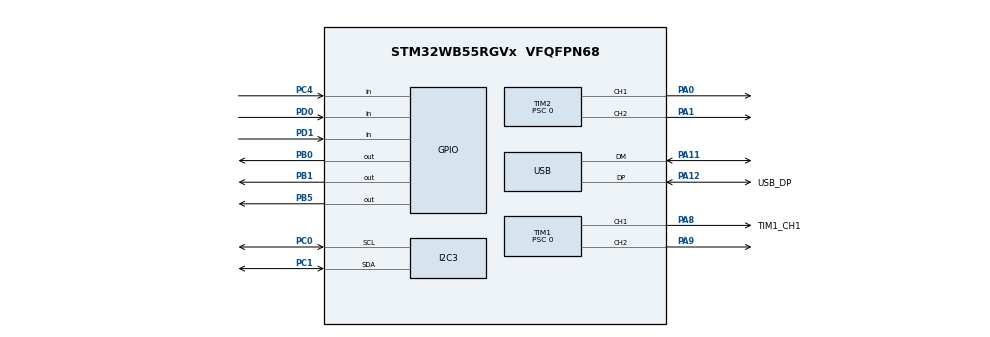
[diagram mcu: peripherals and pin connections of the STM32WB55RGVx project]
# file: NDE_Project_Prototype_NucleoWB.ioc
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I2C3.Timing=0x00B07CB4
Mcu.Family=STM32WB
Mcu.Name=STM32WB55RGVx
Mcu.Package=VFQFPN68
NUCLEO-WB55RG.BUTTON=1
NUCLEO-WB55RG.BUTTON2=1
NUCLEO-WB55RG.BUTTON3=1
NUCLEO-WB55RG.LD1=true
NUCLEO-WB55RG.LD2=true
NUCLEO-WB55RG.LD3=true
NUCLEO-WB55RG.VCP=true
NVIC.PriorityGroup=NVIC_PRIORITYGROUP_4
NVIC.TIM1_UP_TIM16_IRQn=true\:0\:0\:false\:false\:true\:true\:true\:true
OSC_IN.GPIO_Label=RCC_OSC_IN
OSC_IN.Signal=RCC_OSC_IN
OSC_OUT.GPIO_Label=RCC_OSC_OUT
OSC_OUT.Signal=RCC_OSC_OUT
PA0.Signal=S_TIM2_CH1
PA1.Signal=S_TIM2_CH2
PA11.Mode=Device
PA11.Signal=USB_DM
PA12.GPIO_Label=USB_DP
PA12.Mode=Device
PA12.Signal=USB_DP
PA13.GPIO_Label=JTMS
PA13.Mode=Trace_Asynchronous_SW
PA13.Signal=SYS_JTMS-SWDIO
PA14.GPIO_Label=JTCK
PA14.Mode=Trace_Asynchronous_SW
PA14.Signal=SYS_JTCK-SWCLK
PA8.GPIO_Label=TIM1_CH1
PA8.Signal=S_TIM1_CH1
PA9.Signal=S_TIM1_CH2
PB0.Signal=GPIO_Output
PB1.Signal=GPIO_Output
PB3.GPIO_Label=JTDO
PB3.Mode=Trace_Asynchronous_SW
PB3.Signal=SYS_JTDO-SWO
PB5.Signal=GPIO_Output
PB6.Signal=USART1_TX
PB7.Signal=USART1_RX
PC0.Mode=I2C
PC0.Signal=I2C3_SCL
PC1.Mode=I2C
PC1.Signal=I2C3_SDA
PC13.GPIO_Label=SYS_WKUP2
PC13.Signal=SYS_WKUP2
PC14-OSC32_IN.GPIO_Label=RCC_OSC32_IN
PC14-OSC32_IN.Signal=RCC_OSC32_IN
PC15-OSC32_OUT.GPIO_Label=RCC_OSC32_OUT
PC15-OSC32_OUT.Signal=RCC_OSC32_OUT
PC4.Signal=GPIO_Input
PD0.Signal=GPIO_Input
PD1.Signal=GPIO_Input
ProjectManager.HeapSize=0x200
ProjectManager.StackSize=0x400
ProjectManager.TargetToolchain=STM32CubeIDE
RCC.ADCFreq_Value=128000000
RCC.AHBFreq_Value=32000000
RCC.APB1Freq_Value=32000000
RCC.APB1TimFreq_Value=32000000
RCC.APB2Freq_Value=32000000
RCC.APB2TimFreq_Value=32000000
RCC.APB3Freq_Value=16000000
RCC.CK48CLockSelection=RCC_USBCLKSOURCE_HSI48
RCC.CortexFreq_Value=32000000
RCC.HCLKFreq_Value=32000000
RCC.HSE_VALUE=32000000
RCC.HSI48_VALUE=48000000
RCC.HSI_VALUE=16000000
RCC.LSE_VALUE=32768
RCC.MSIClockRange=RCC_MSIRANGE_10
RCC.SMPSCLockSelection=RCC_SMPSCLKSOURCE_HSI
RCC.SMPSCLockSelectionVirtual=RCC_SMPSCLKSOURCE_HSI
RCC.SMPSCLockSelectionVirtualVirtual=RCC_SMPSCLKSOURCE_HSI
RCC.SMPSDivider=1
RCC.SYSCLKFreq_VALUE=32000000
RCC.USBFreq_Value=48000000
RCC.VCOOutputFreq_Value=256000000
SH.S_TIM1_CH1.0=TIM1_CH1,PWM Generation1 CH1
SH.S_TIM1_CH2.0=TIM1_CH2,PWM Generation2 CH2
SH.S_TIM2_CH1.0=TIM2_CH1,PWM Generation1 CH1
SH.S_TIM2_CH2.0=TIM2_CH2,PWM Generation2 CH2
TIM1.AutoReloadPreload=TIM_AUTORELOAD_PRELOAD_ENABLE
TIM1.Channel-PWM\ Generation1\ CH1=TIM_CHANNEL_1
TIM1.Channel-PWM\ Generation2\ CH2=TIM_CHANNEL_2
TIM1.Channel-PWM\ Generation3\ No\ Output=TIM_CHANNEL_3
TIM1.Period=1000
TIM1.Prescaler=0
TIM16.Period=5000
TIM16.Prescaler=6339
TIM2.Channel-PWM\ Generation1\ CH1=TIM_CHANNEL_1
TIM2.Channel-PWM\ Generation2\ CH2=TIM_CHANNEL_2
TIM2.Period=1000
TIM2.Prescaler=0
VP_MEMORYMAP_VS_MEMORYMAP.Mode=CurAppReg
VP_NUCLEO-WB55RG_VS_BSP_COMMON.Mode=COMMON
VP_TIM16_VS_ClockSourceINT.Mode=Enable_Timer
VP_TIM1_VS_ClockSourceINT.Mode=Internal
VP_TIM1_VS_no_output3.Mode=PWM Generation3 No Output
VP_TIM2_VS_ClockSourceINT.Mode=Internal
board=NUCLEO-WB55RG

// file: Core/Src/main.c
/* USER CODE BEGIN Header */
/**
  ******************************************************************************
  * @file           : main.c
  * @brief          : Main program body
  ******************************************************************************
  * @attention
  *
  * Copyright (c) 2025 STMicroelectronics.
  * All rights reserved.
  *
  * This software is licensed under terms that can be found in the LICENSE file
  * in the root directory of this software component.
  * If no LICENSE file comes with this software, it is provided AS-IS.
  *
  ******************************************************************************
  */
/* USER CODE END Header */
#include "main.h"

/* USER CODE BEGIN Includes */
#include <stdio.h>
#include "MPU6050.h"
#include "Fan_Controller.h"
/* USER CODE END Includes */

COM_InitTypeDef BspCOMInit;
I2C_HandleTypeDef hi2c3;

TIM_HandleTypeDef htim1;
TIM_HandleTypeDef htim2;
TIM_HandleTypeDef htim16;

PCD_HandleTypeDef hpcd_USB_FS;

void SystemClock_Config(void);
void PeriphCommonClock_Config(void);
static void MX_GPIO_Init(void);
static void MX_TIM1_Init(void);
static void MX_TIM2_Init(void);
static void MX_I2C3_Init(void);
static void MX_USB_PCD_Init(void);
static void MX_TIM16_Init(void);
/* USER CODE BEGIN PFP */
float fan_speed_1, fan_speed_2 = 0;

void control_rotation(float desired_rotation, float actual_rotation) {
	// Prepracovat ako PID kontroler, ak to nebude fungovat
	if (actual_rotation-desired_rotation > 10.5) {
		fan_speed_1 = -1000;
		fan_speed_2 = -1000;
		set_fan_speed(fan_speed_1);
		set_fan_speed2(fan_speed_2);
	}else if (actual_rotation-desired_rotation < -10.5){
		fan_speed_1 = 1000;
		fan_speed_2 = 1000;
		set_fan_speed(fan_speed_1);
		set_fan_speed2(fan_speed_2);
	}else{
		fan_speed_1 = 0;
		fan_speed_2 = 0;
		set_fan_speed(fan_speed_1);
		set_fan_speed2(fan_speed_2);
	}
}

/* USER CODE END PFP */

/* USER CODE BEGIN 0 */
float GyroX, GyroY, GyroZ;
float AccelX, AccelY, AccelZ;
float GyroRoll, GyroPitch, AccelRoll, AccelPitch;
uint32_t ch1_counter_val, ch2_counter_val;
/* USER CODE END 0 */

int main(void)
{

  /* MCU Configuration--------------------------------------------------------*/

  /* Reset of all peripherals, Initializes the Flash interface and the Systick. */
  HAL_Init();

  /* Configure the system clock */
  SystemClock_Config();

  /* Configure the peripherals common clocks */
  PeriphCommonClock_Config();

  /* Initialize all configured peripherals */
  MX_GPIO_Init();
  MX_TIM1_Init();
  MX_TIM2_Init();
  MX_I2C3_Init();
  MX_USB_PCD_Init();
  MX_TIM16_Init();
  /* USER CODE BEGIN 2 */
  MPU6050_t MPU6050;

  // Initialize MPU6050 (see library sample code)
  while (MPU6050_Init(&hi2c3) == 1){
	  printf("Unable to Init MPU6050\n");
  }
  /* USER CODE END 2 */

  /* Initialize leds */
  BSP_LED_Init(LED_BLUE);
  BSP_LED_Init(LED_GREEN);
  BSP_LED_Init(LED_RED);

  /* Initialize USER push-button, will be used to trigger an interrupt each time it's pressed.*/
  BSP_PB_Init(BUTTON_SW1, BUTTON_MODE_EXTI);
  BSP_PB_Init(BUTTON_SW2, BUTTON_MODE_EXTI);
  BSP_PB_Init(BUTTON_SW3, BUTTON_MODE_EXTI);

  /* Initialize COM1 port (115200, 8 bits (7-bit data + 1 stop bit), no parity */
  BspCOMInit.BaudRate   = 115200;
  BspCOMInit.WordLength = COM_WORDLENGTH_8B;
  BspCOMInit.StopBits   = COM_STOPBITS_1;
  BspCOMInit.Parity     = COM_PARITY_NONE;
  BspCOMInit.HwFlowCtl  = COM_HWCONTROL_NONE;
  if (BSP_COM_Init(COM1, &BspCOMInit) != BSP_ERROR_NONE)
  {
    Error_Handler();
  }

  /* Infinite loop */
  /* USER CODE BEGIN WHILE */
  HAL_TIM_PWM_Start(&htim1, TIM_CHANNEL_1);
  HAL_TIM_PWM_Start(&htim1, TIM_CHANNEL_2);
  HAL_TIM_PWM_Start(&htim2, TIM_CHANNEL_1);
  HAL_TIM_PWM_Start(&htim2, TIM_CHANNEL_2);
  init_fan(&(TIM1->CCR1), &(TIM1->CCR2), &(TIM2->CCR1), &(TIM2->CCR2));
  HAL_TIM_Base_Start_IT(&htim16);

  //ch1_counter_val = 0;//(TIM1 -> ARR);
  //ch2_counter_val = 0;
  fan_speed_1 = 1;
  fan_speed_2 = 1;
  while (1)
  {

    /* USER CODE END WHILE */

    /* USER CODE BEGIN 3 */

	  // MPU6050 reading
	  MPU6050_Read_MPU(&hi2c3, &MPU6050);
	  Calculate_Accel_Values(&MPU6050);
	  Calculate_Gyro_Values(&MPU6050);
	  Get_Accel_Angles(&MPU6050);
	  Get_Gyro_Angles(&MPU6050, 0.01);
	  Comp_Filter_Results(&MPU6050);

	  // Writing results
	  GyroX = MPU6050.Gyro_X;
	  GyroY = MPU6050.Gyro_Y;
	  GyroZ = MPU6050.Gyro_Z;

	  AccelX = MPU6050.Accel_X;
	  AccelY = MPU6050.Accel_Y;
	  AccelZ = MPU6050.Accel_Z;

	  GyroRoll = MPU6050.Gyro_Roll;
	  GyroPitch = MPU6050.Gyro_Pitch;
	  AccelRoll = MPU6050.Accel_Roll;
	  AccelPitch = MPU6050.Accel_Pitch;

	  control_rotation(0, GyroY);
	  //fan_speed_1 = (AccelZ/10.5 * 1000);
	  /*fan_speed_1 = 0;
	  fan_speed_2 = 0;
	  set_fan_speed(fan_speed_1);
	  set_fan_speed2(fan_speed_2);
	  HAL_Delay(2000);

	  fan_speed_1 = 600;
	  fan_speed_2 = 600;
	  set_fan_speed(fan_speed_1);
	  set_fan_speed2(fan_speed_2);
	  HAL_Delay(2000);

	  fan_speed_1 = 900;
	  fan_speed_2 = 900;
	  set_fan_speed(fan_speed_1);
	  set_fan_speed2(fan_speed_2);
	  HAL_Delay(2000);

	  fan_speed_1 = -900;
	  fan_speed_2 = -900;*/

	  //HAL_Delay(2000);

	  /*ch1_counter_val = (TIM1->ARR)*0.8;
	  TIM1->CCR1 = ch1_counter_val;
	  HAL_Delay(5000);
	  ch1_counter_val = 0;
	  TIM1->CCR1 = ch1_counter_val;

	  ch2_counter_val = (TIM1->ARR)*0.8;

	  TIM1->CCR2 = ch2_counter_val;
	  HAL_Delay(5000);
	  ch2_counter_val = 0;
	  TIM1->CCR2 = ch2_counter_val;*/
	  printf("GyroscopeMPU6050Test\n");
  }
  /* USER CODE END 3 */
}

void SystemClock_Config(void)
{
  RCC_OscInitTypeDef RCC_OscInitStruct = {0};
  RCC_ClkInitTypeDef RCC_ClkInitStruct = {0};

  /** Configure the main internal regulator output voltage
  */
  __HAL_PWR_VOLTAGESCALING_CONFIG(PWR_REGULATOR_VOLTAGE_SCALE1);

  /** Initializes the RCC Oscillators according to the specified parameters
  * in the RCC_OscInitTypeDef structure.
  */
  RCC_OscInitStruct.OscillatorType = RCC_OSCILLATORTYPE_HSI48|RCC_OSCILLATORTYPE_HSI
                              |RCC_OSCILLATORTYPE_MSI;
  RCC_OscInitStruct.HSIState = RCC_HSI_ON;
  RCC_OscInitStruct.MSIState = RCC_MSI_ON;
  RCC_OscInitStruct.HSI48State = RCC_HSI48_ON;
  RCC_OscInitStruct.HSICalibrationValue = RCC_HSICALIBRATION_DEFAULT;
  RCC_OscInitStruct.MSICalibrationValue = RCC_MSICALIBRATION_DEFAULT;
  RCC_OscInitStruct.MSIClockRange = RCC_MSIRANGE_10;
  RCC_OscInitStruct.PLL.PLLState = RCC_PLL_NONE;
  if (HAL_RCC_OscConfig(&RCC_OscInitStruct) != HAL_OK)
  {
    Error_Handler();
  }

  /** Configure the SYSCLKSource, HCLK, PCLK1 and PCLK2 clocks dividers
  */
  RCC_ClkInitStruct.ClockType = RCC_CLOCKTYPE_HCLK4|RCC_CLOCKTYPE_HCLK2
                              |RCC_CLOCKTYPE_HCLK|RCC_CLOCKTYPE_SYSCLK
                              |RCC_CLOCKTYPE_PCLK1|RCC_CLOCKTYPE_PCLK2;
  RCC_ClkInitStruct.SYSCLKSource = RCC_SYSCLKSOURCE_MSI;
  RCC_ClkInitStruct.AHBCLKDivider = RCC_SYSCLK_DIV1;
  RCC_ClkInitStruct.APB1CLKDivider = RCC_HCLK_DIV1;
  RCC_ClkInitStruct.APB2CLKDivider = RCC_HCLK_DIV1;
  RCC_ClkInitStruct.AHBCLK2Divider = RCC_SYSCLK_DIV1;
  RCC_ClkInitStruct.AHBCLK4Divider = RCC_SYSCLK_DIV1;

  if (HAL_RCC_ClockConfig(&RCC_ClkInitStruct, FLASH_LATENCY_1) != HAL_OK)
  {
    Error_Handler();
  }
}

void PeriphCommonClock_Config(void)
{
  RCC_PeriphCLKInitTypeDef PeriphClkInitStruct = {0};

  /** Initializes the peripherals clock
  */
  PeriphClkInitStruct.PeriphClockSelection = RCC_PERIPHCLK_SMPS;
  PeriphClkInitStruct.SmpsClockSelection = RCC_SMPSCLKSOURCE_HSI;
  PeriphClkInitStruct.SmpsDivSelection = RCC_SMPSCLKDIV_RANGE0;

  if (HAL_RCCEx_PeriphCLKConfig(&PeriphClkInitStruct) != HAL_OK)
  {
    Error_Handler();
  }
}

static void MX_I2C3_Init(void)
{

  hi2c3.Instance = I2C3;
  hi2c3.Init.Timing = 0x00B07CB4;
  hi2c3.Init.OwnAddress1 = 0;
  hi2c3.Init.AddressingMode = I2C_ADDRESSINGMODE_7BIT;
  hi2c3.Init.DualAddressMode = I2C_DUALADDRESS_DISABLE;
  hi2c3.Init.OwnAddress2 = 0;
  hi2c3.Init.OwnAddress2Masks = I2C_OA2_NOMASK;
  hi2c3.Init.GeneralCallMode = I2C_GENERALCALL_DISABLE;
  hi2c3.Init.NoStretchMode = I2C_NOSTRETCH_DISABLE;
  if (HAL_I2C_Init(&hi2c3) != HAL_OK)
  {
    Error_Handler();
  }

  /** Configure Analogue filter
  */
  if (HAL_I2CEx_ConfigAnalogFilter(&hi2c3, I2C_ANALOGFILTER_ENABLE) != HAL_OK)
  {
    Error_Handler();
  }

  /** Configure Digital filter
  */
  if (HAL_I2CEx_ConfigDigitalFilter(&hi2c3, 0) != HAL_OK)
  {
    Error_Handler();
  }

}

static void MX_TIM1_Init(void)
{

  TIM_ClockConfigTypeDef sClockSourceConfig = {0};
  TIM_MasterConfigTypeDef sMasterConfig = {0};
  TIM_OC_InitTypeDef sConfigOC = {0};
  TIM_BreakDeadTimeConfigTypeDef sBreakDeadTimeConfig = {0};

  htim1.Instance = TIM1;
  htim1.Init.Prescaler = 0;
  htim1.Init.CounterMode = TIM_COUNTERMODE_UP;
  htim1.Init.Period = 1000;
  htim1.Init.ClockDivision = TIM_CLOCKDIVISION_DIV1;
  htim1.Init.RepetitionCounter = 0;
  htim1.Init.AutoReloadPreload = TIM_AUTORELOAD_PRELOAD_ENABLE;
  if (HAL_TIM_Base_Init(&htim1) != HAL_OK)
  {
    Error_Handler();
  }
  sClockSourceConfig.ClockSource = TIM_CLOCKSOURCE_INTERNAL;
  if (HAL_TIM_ConfigClockSource(&htim1, &sClockSourceConfig) != HAL_OK)
  {
    Error_Handler();
  }
  if (HAL_TIM_PWM_Init(&htim1) != HAL_OK)
  {
    Error_Handler();
  }
  sMasterConfig.MasterOutputTrigger = TIM_TRGO_RESET;
  sMasterConfig.MasterOutputTrigger2 = TIM_TRGO2_RESET;
  sMasterConfig.MasterSlaveMode = TIM_MASTERSLAVEMODE_DISABLE;
  if (HAL_TIMEx_MasterConfigSynchronization(&htim1, &sMasterConfig) != HAL_OK)
  {
    Error_Handler();
  }
  sConfigOC.OCMode = TIM_OCMODE_PWM1;
  sConfigOC.Pulse = 0;
  sConfigOC.OCPolarity = TIM_OCPOLARITY_HIGH;
  sConfigOC.OCNPolarity = TIM_OCNPOLARITY_HIGH;
  sConfigOC.OCFastMode = TIM_OCFAST_DISABLE;
  sConfigOC.OCIdleState = TIM_OCIDLESTATE_RESET;
  sConfigOC.OCNIdleState = TIM_OCNIDLESTATE_RESET;
  if (HAL_TIM_PWM_ConfigChannel(&htim1, &sConfigOC, TIM_CHANNEL_1) != HAL_OK)
  {
    Error_Handler();
  }
  if (HAL_TIM_PWM_ConfigChannel(&htim1, &sConfigOC, TIM_CHANNEL_2) != HAL_OK)
  {
    Error_Handler();
  }
  if (HAL_TIM_PWM_ConfigChannel(&htim1, &sConfigOC, TIM_CHANNEL_3) != HAL_OK)
  {
    Error_Handler();
  }
  sBreakDeadTimeConfig.OffStateRunMode = TIM_OSSR_DISABLE;
  sBreakDeadTimeConfig.OffStateIDLEMode = TIM_OSSI_DISABLE;
  sBreakDeadTimeConfig.LockLevel = TIM_LOCKLEVEL_OFF;
  sBreakDeadTimeConfig.DeadTime = 0;
  sBreakDeadTimeConfig.BreakState = TIM_BREAK_DISABLE;
  sBreakDeadTimeConfig.BreakPolarity = TIM_BREAKPOLARITY_HIGH;
  sBreakDeadTimeConfig.BreakFilter = 0;
  sBreakDeadTimeConfig.BreakAFMode = TIM_BREAK_AFMODE_INPUT;
  sBreakDeadTimeConfig.Break2State = TIM_BREAK2_DISABLE;
  sBreakDeadTimeConfig.Break2Polarity = TIM_BREAK2POLARITY_HIGH;
  sBreakDeadTimeConfig.Break2Filter = 0;
  sBreakDeadTimeConfig.Break2AFMode = TIM_BREAK_AFMODE_INPUT;
  sBreakDeadTimeConfig.AutomaticOutput = TIM_AUTOMATICOUTPUT_DISABLE;
  if (HAL_TIMEx_ConfigBreakDeadTime(&htim1, &sBreakDeadTimeConfig) != HAL_OK)
  {
    Error_Handler();
  }
  HAL_TIM_MspPostInit(&htim1);

}

static void MX_TIM2_Init(void)
{

  TIM_ClockConfigTypeDef sClockSourceConfig = {0};
  TIM_MasterConfigTypeDef sMasterConfig = {0};
  TIM_OC_InitTypeDef sConfigOC = {0};

  htim2.Instance = TIM2;
  htim2.Init.Prescaler = 0;
  htim2.Init.CounterMode = TIM_COUNTERMODE_UP;
  htim2.Init.Period = 1000;
  htim2.Init.ClockDivision = TIM_CLOCKDIVISION_DIV1;
  htim2.Init.AutoReloadPreload = TIM_AUTORELOAD_PRELOAD_DISABLE;
  if (HAL_TIM_Base_Init(&htim2) != HAL_OK)
  {
    Error_Handler();
  }
  sClockSourceConfig.ClockSource = TIM_CLOCKSOURCE_INTERNAL;
  if (HAL_TIM_ConfigClockSource(&htim2, &sClockSourceConfig) != HAL_OK)
  {
    Error_Handler();
  }
  if (HAL_TIM_PWM_Init(&htim2) != HAL_OK)
  {
    Error_Handler();
  }
  sMasterConfig.MasterOutputTrigger = TIM_TRGO_RESET;
  sMasterConfig.MasterSlaveMode = TIM_MASTERSLAVEMODE_DISABLE;
  if (HAL_TIMEx_MasterConfigSynchronization(&htim2, &sMasterConfig) != HAL_OK)
  {
    Error_Handler();
  }
  sConfigOC.OCMode = TIM_OCMODE_PWM1;
  sConfigOC.Pulse = 0;
  sConfigOC.OCPolarity = TIM_OCPOLARITY_HIGH;
  sConfigOC.OCFastMode = TIM_OCFAST_DISABLE;
  if (HAL_TIM_PWM_ConfigChannel(&htim2, &sConfigOC, TIM_CHANNEL_1) != HAL_OK)
  {
    Error_Handler();
  }
  if (HAL_TIM_PWM_ConfigChannel(&htim2, &sConfigOC, TIM_CHANNEL_2) != HAL_OK)
  {
    Error_Handler();
  }
  HAL_TIM_MspPostInit(&htim2);

}

static void MX_TIM16_Init(void)
{

  htim16.Instance = TIM16;
  htim16.Init.Prescaler = 6339;
  htim16.Init.CounterMode = TIM_COUNTERMODE_UP;
  htim16.Init.Period = 5000;
  htim16.Init.ClockDivision = TIM_CLOCKDIVISION_DIV1;
  htim16.Init.RepetitionCounter = 0;
  htim16.Init.AutoReloadPreload = TIM_AUTORELOAD_PRELOAD_DISABLE;
  if (HAL_TIM_Base_Init(&htim16) != HAL_OK)
  {
    Error_Handler();
  }

}

static void MX_USB_PCD_Init(void)
{

  hpcd_USB_FS.Instance = USB;
  hpcd_USB_FS.Init.dev_endpoints = 8;
  hpcd_USB_FS.Init.speed = PCD_SPEED_FULL;
  hpcd_USB_FS.Init.phy_itface = PCD_PHY_EMBEDDED;
  hpcd_USB_FS.Init.Sof_enable = DISABLE;
  hpcd_USB_FS.Init.low_power_enable = DISABLE;
  hpcd_USB_FS.Init.lpm_enable = DISABLE;
  hpcd_USB_FS.Init.battery_charging_enable = DISABLE;
  if (HAL_PCD_Init(&hpcd_USB_FS) != HAL_OK)
  {
    Error_Handler();
  }

}

static void MX_GPIO_Init(void)
{

  /* GPIO Ports Clock Enable */
  __HAL_RCC_GPIOC_CLK_ENABLE();
  __HAL_RCC_GPIOA_CLK_ENABLE();
  __HAL_RCC_GPIOB_CLK_ENABLE();

}

/* USER CODE BEGIN 4 */
int _write(int file, char *ptr, int len)
{
  (void)file;
  int DataIdx;

  for (DataIdx = 0; DataIdx < len; DataIdx++)
  {
    //__io_putchar(*ptr++);
	  ITM_SendChar(*ptr++);
  }
  return len;
}

void HAL_TIM_PeriodElapsedCallback(TIM_HandleTypeDef* htim)
{
	Led_TypeDef leds[] = {LED_BLUE, LED_GREEN, LED_RED};
	static uint8_t i = 0;
	if (htim == &htim16)
	{
		BSP_LED_Toggle(leds[i]);
		i++;
		if (i>2){
			i=0;
		}
	}
}
/* USER CODE END 4 */

void Error_Handler(void)
{
  __disable_irq();
  while (1)
  {
  }
}
